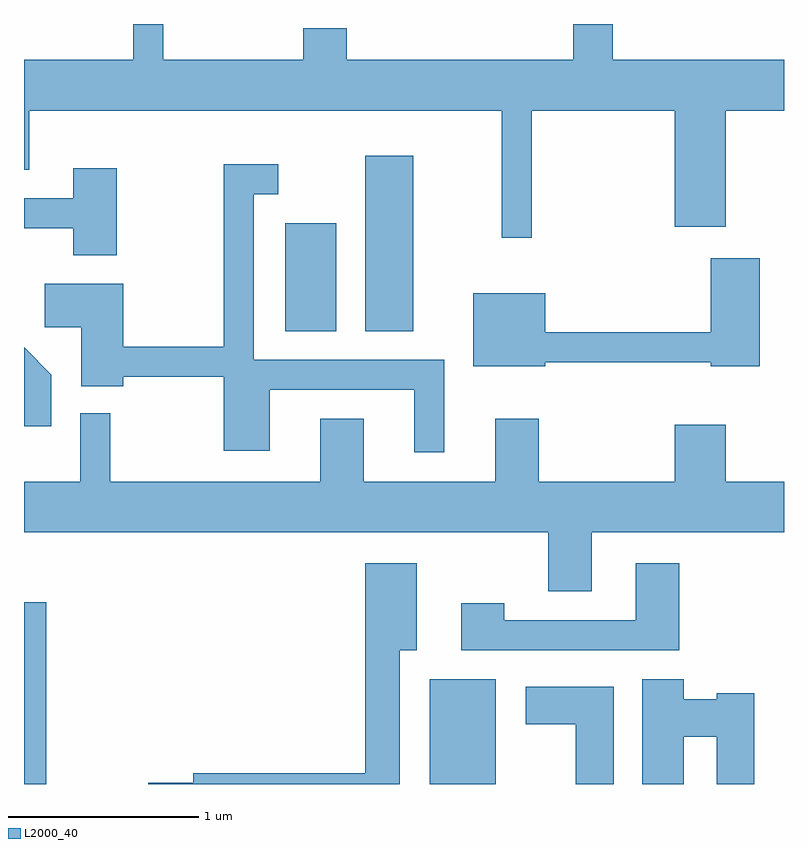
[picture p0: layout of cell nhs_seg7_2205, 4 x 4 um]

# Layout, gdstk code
import gdstk
lib = gdstk.Library(unit=1e-6, precision=1e-09)
def R(c, l, rs):  # rectangles x0, y0, x1, y1
    for r in rs: c.add(gdstk.rectangle(r[:2], r[2:], *l))
def P(c, l, *ps):  # polygons
    for p in ps: c.add(gdstk.Polygon(p, *l))
L2000_40 = (2000, 40)

nhs_seg7_2205 = lib.new_cell('nhs_seg7_2205')
R(nhs_seg7_2205, L2000_40, [(251.611,1786.252,251.729,1787.209), (253.746,1786.252,254.094,1786.804), (252.986,1788.636,253.254,1789.204), (253.406,1788.636,253.659,1789.559)])
P(nhs_seg7_2205, L2000_40, [(254.284,1789.796),(255.036,1789.796),(255.036,1789.186),(255.304,1789.186),(255.304,1789.796),(255.611,1789.796),(255.611,1790.064),(254.709,1790.064),(254.709,1790.252),(254.501,1790.252),(254.501,1790.064),(253.309,1790.064),(253.309,1790.229),(253.081,1790.229),(253.081,1790.064),(252.344,1790.064),(252.344,1790.252),(252.186,1790.252),(252.186,1790.064),(251.611,1790.064),(251.611,1789.486),(251.639,1789.486),(251.639,1789.796),(254.126,1789.796),(254.126,1789.128),(254.284,1789.128)],
  [(253.824,1788.484),(252.819,1788.484),(252.819,1789.356),(252.948,1789.356),(252.948,1789.514),(252.661,1789.514),(252.661,1788.554),(252.134,1788.554),(252.134,1788.884),(251.721,1788.884),(251.721,1788.656),(251.911,1788.656),(251.911,1788.346),(252.134,1788.346),(252.134,1788.396),(252.661,1788.396),(252.661,1788.006),(252.904,1788.006),(252.904,1788.326),(253.666,1788.326),(253.666,1787.998),(253.824,1787.998)],
  [(252.099,1789.494),(251.871,1789.494),(251.871,1789.334),(251.611,1789.334),(251.611,1789.176),(251.871,1789.176),(251.871,1789.036),(252.099,1789.036)],
  [(254.354,1788.471),(255.226,1788.471),(255.226,1788.451),(255.484,1788.451),(255.484,1789.019),(255.226,1789.019),(255.226,1788.629),(254.354,1788.629),(254.354,1788.834),(253.976,1788.834),(253.976,1788.451),(254.354,1788.451)],
  [(251.754,1788.407),(251.611,1788.55),(251.611,1788.136),(251.754,1788.136)],
  [(254.599,1787.576),(255.611,1787.576),(255.611,1787.844),(255.304,1787.844),(255.304,1788.144),(255.036,1788.144),(255.036,1787.844),(254.319,1787.844),(254.319,1788.174),(254.091,1788.174),(254.091,1787.844),(253.399,1787.844),(253.399,1788.174),(253.171,1788.174),(253.171,1787.844),(252.064,1787.844),(252.064,1788.203),(251.906,1788.203),(251.906,1787.844),(251.611,1787.844),(251.611,1787.576),(254.371,1787.576),(254.371,1787.266),(254.599,1787.266)],
  [(253.589,1786.956),(253.679,1786.956),(253.679,1787.414),(253.406,1787.414),(253.406,1786.309),(252.501,1786.309),(252.501,1786.259),(252.266,1786.259),(252.266,1786.252),(253.589,1786.252)],
  [(255.059,1787.414),(254.831,1787.414),(254.831,1787.114),(254.139,1787.114),(254.139,1787.204),(253.911,1787.204),(253.911,1786.956),(255.059,1786.956)],
  [(255.084,1786.501),(255.256,1786.501),(255.256,1786.252),(255.454,1786.252),(255.454,1786.729),(255.256,1786.729),(255.256,1786.699),(255.084,1786.699),(255.084,1786.804),(254.866,1786.804),(254.866,1786.252),(255.084,1786.252)],
  [(254.714,1786.764),(254.251,1786.764),(254.251,1786.566),(254.516,1786.566),(254.516,1786.252),(254.714,1786.252)])

lib.write_gds('nhs_seg7_2205.gds')
